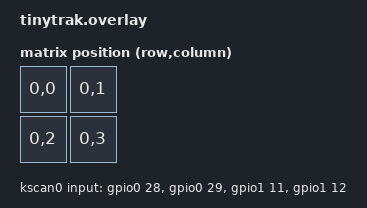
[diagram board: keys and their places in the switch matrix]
#include <input/processors.dtsi>
#include <dt-bindings/zmk/input_transform.h>
#include <dt-bindings/zmk/matrix_transform.h>
#include <zephyr/dt-bindings/input/input-event-codes.h>
#include <physical_layouts.dtsi>

/ {
    chosen {
        zmk,physical-layout = &tinytrak_physical_layout;
    };

    tinytrak_physical_layout: tinytrak_physical_layout {
        compatible = "zmk,physical-layout";
        display-name = "Default";
        transform = <&default_transform>;
        kscan = <&kscan0>;
        keys =
            <&key_physical_attrs 100 100 100   0   0 0 0>,
            <&key_physical_attrs 100 100 200   0   0 0 0>,
            <&key_physical_attrs 100 100 100 100   0 0 0>,
            <&key_physical_attrs 100 100 200 100   0 0 0>;
    };

    default_transform: keymap_transform_0 {
        compatible = "zmk,matrix-transform";
        columns = <4>;
        rows = <1>;
        map = <
            RC(0,0) RC(0,1) RC(0,2) RC(0,3)
        >;
    };

    kscan0: kscan {
        compatible = "zmk,kscan-gpio-direct";
        label = "KSCAN";
        input-gpios =
            <&gpio0 28 (GPIO_ACTIVE_LOW | GPIO_PULL_UP)>,
            <&gpio0 29 (GPIO_ACTIVE_LOW | GPIO_PULL_UP)>,
            <&gpio1 11 (GPIO_ACTIVE_LOW | GPIO_PULL_UP)>,
            <&gpio1 12 (GPIO_ACTIVE_LOW | GPIO_PULL_UP)>;
    };

    /* ==== Trackball listeners ==== */

    /* 通常カーソル移動用（変換なし。必要ならxy変換を追加可） */
    trackball_listener: trackball_listener {
        compatible = "zmk,input-listener";
        device = <&trackball>;
        status = "okay";
        /* 例: Y反転したい場合は以下を有効化
         * input-processors = <&zip_xy_transform INPUT_TRANSFORM_Y_INVERT>;
         */
    };

    /* スクロール用（XY→スクロール, 量を1/4にスケール） */
    trackball_scroller: trackball_scroller {
        compatible = "zmk,input-listener";
        device = <&trackball>;
        status = "okay";
        input-processors =
            <&zip_xy_to_scroll_mapper>,
            <&zip_scroll_scaler 1 4>;
        /* 方向を変えたい場合:
         * , <&zip_scroll_transform INPUT_TRANSFORM_X_INVERT>
         * , <&zip_scroll_transform INPUT_TRANSFORM_Y_INVERT>
         */
    };

    /* ==== behaviors ==== */
    behaviors {
        /* ホールドでレイヤー1(SCROLL)を一時有効化、タップは何もしない */
        ht_scroll: hold_tap {
            compatible = "zmk,behavior-hold-tap";
            label = "HT_SCROLL";
            #binding-cells = <0>;
            bindings = <&none &mo 1>;   /* tap: none / hold: momentary layer 1 */
            tapping-term-ms = <200>;
            quick-tap-ms = <0>;
            flavor = "balanced";
        };
    };
};

&spi0 {
    status = "okay";
    compatible = "nordic,nrf-spim";
    pinctrl-0 = <&spi0_default>;
    pinctrl-1 = <&spi0_sleep>;
    pinctrl-names = "default", "sleep";
    cs-gpios = <&gpio0 3 GPIO_ACTIVE_LOW>;

    trackball: pmw3610@0 {
        status = "okay";
        compatible = "pixart,pmw3610";
        reg = <0>;
        spi-max-frequency = <2000000>;
        irq-gpios = <&gpio0 2 (GPIO_ACTIVE_LOW | GPIO_PULL_UP)>;
        cpi = <600>;

        /* 相対入力でカーソル移動 */
        evt-type = <INPUT_EV_REL>;
        x-input-code = <INPUT_REL_X>;
        y-input-code = <INPUT_REL_Y>;
    };
};

&pinctrl {
    spi0_default: spi0_default {
        group1 {
            psels = <NRF_PSEL(SPIM_SCK, 0, 5)>,
                    <NRF_PSEL(SPIM_MOSI, 0, 4)>,
                    <NRF_PSEL(SPIM_MISO, 0, 4)>;
        };
    };

    spi0_sleep: spi0_sleep {
        group1 {
            psels = <NRF_PSEL(SPIM_SCK, 0, 5)>,
                    <NRF_PSEL(SPIM_MOSI, 0, 4)>,
                    <NRF_PSEL(SPIM_MISO, 0, 4)>;
            low-power-enable;
        };
    };
};
